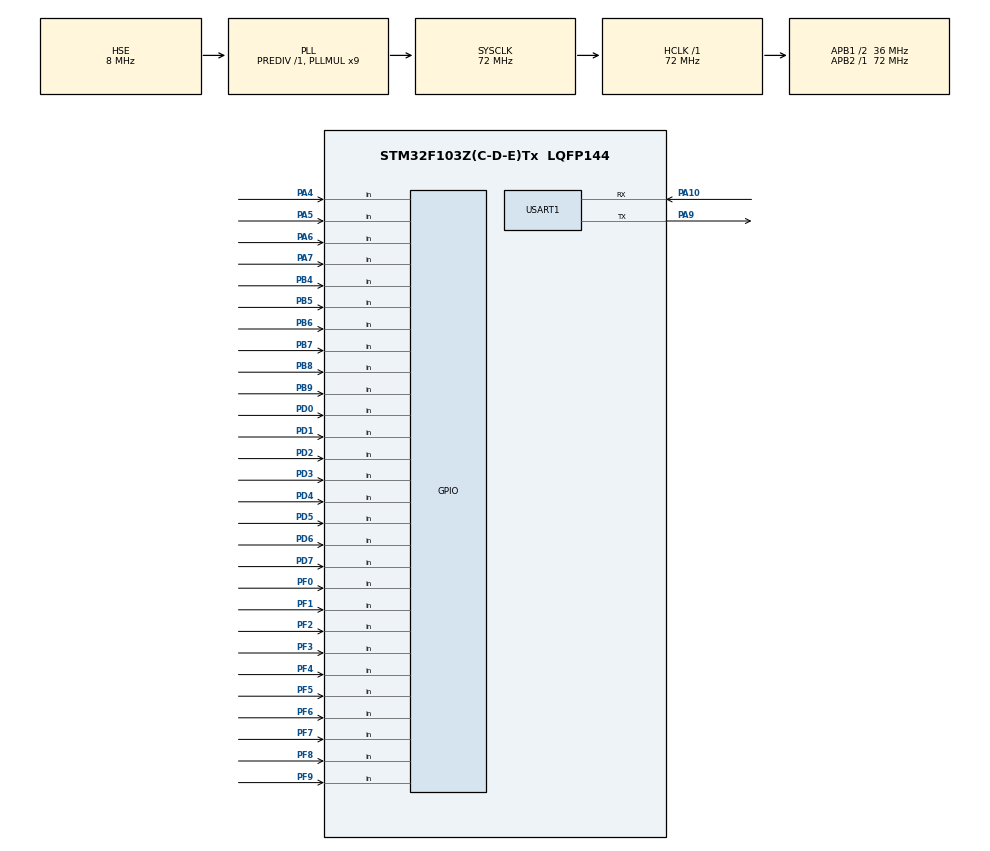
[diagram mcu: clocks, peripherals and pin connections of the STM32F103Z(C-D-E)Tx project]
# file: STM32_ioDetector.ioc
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Mcu.Family=STM32F1
Mcu.Name=STM32F103Z(C-D-E)Tx
Mcu.Package=LQFP144
NVIC.PriorityGroup=NVIC_PRIORITYGROUP_4
OSC_IN.Mode=HSE-External-Oscillator
OSC_IN.Signal=RCC_OSC_IN
OSC_OUT.Mode=HSE-External-Oscillator
OSC_OUT.Signal=RCC_OSC_OUT
PA10.Mode=Asynchronous
PA10.Signal=USART1_RX
PA13.Mode=Serial_Wire
PA13.Signal=SYS_JTMS-SWDIO
PA14.Mode=Serial_Wire
PA14.Signal=SYS_JTCK-SWCLK
PA4.Signal=GPIO_Input
PA5.Signal=GPIO_Input
PA6.Signal=GPIO_Input
PA7.Signal=GPIO_Input
PA9.Mode=Asynchronous
PA9.Signal=USART1_TX
PB4.Signal=GPIO_Input
PB5.Signal=GPIO_Input
PB6.Signal=GPIO_Input
PB7.Signal=GPIO_Input
PB8.Signal=GPIO_Input
PB9.Signal=GPIO_Input
PD0.Signal=GPIO_Input
PD1.Signal=GPIO_Input
PD2.Signal=GPIO_Input
PD3.Signal=GPIO_Input
PD4.Signal=GPIO_Input
PD5.Signal=GPIO_Input
PD6.Signal=GPIO_Input
PD7.Signal=GPIO_Input
PF0.Signal=GPIO_Input
PF1.Signal=GPIO_Input
PF2.Signal=GPIO_Input
PF3.Signal=GPIO_Input
PF4.Signal=GPIO_Input
PF5.Signal=GPIO_Input
PF6.Signal=GPIO_Input
PF7.Signal=GPIO_Input
PF8.Signal=GPIO_Input
PF9.Signal=GPIO_Input
ProjectManager.HeapSize=0x200
ProjectManager.StackSize=0x400
ProjectManager.TargetToolchain=MDK-ARM V5.32
RCC.AHBFreq_Value=72000000
RCC.APB1CLKDivider=RCC_HCLK_DIV2
RCC.APB1Freq_Value=36000000
RCC.APB1TimFreq_Value=72000000
RCC.APB2Freq_Value=72000000
RCC.APB2TimFreq_Value=72000000
RCC.HCLKFreq_Value=72000000
RCC.PLLMUL=RCC_PLL_MUL9
RCC.PLLSourceVirtual=RCC_PLLSOURCE_HSE
RCC.SYSCLKFreq_VALUE=72000000
RCC.SYSCLKSource=RCC_SYSCLKSOURCE_PLLCLK
RCC.USBFreq_Value=72000000
USART1.VirtualMode=VM_ASYNC
board=custom

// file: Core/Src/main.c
/* USER CODE BEGIN Header */
/**
  ******************************************************************************
  * @file           : main.c
  * @brief          : Main program body
  ******************************************************************************
  * @attention
  *
  * Copyright (c) 2023 STMicroelectronics.
  * All rights reserved.
  *
  * This software is licensed under terms that can be found in the LICENSE file
  * in the root directory of this software component.
  * If no LICENSE file comes with this software, it is provided AS-IS.
  *
  ******************************************************************************
  */
/* USER CODE END Header */
#include "main.h"
#include <stdio.h>
#include <string.h>
#include "ioDetector.h"
#include "uart.h"
#include "stm32f1xx_hal.h"

#define pinNum (24)

UART_HandleTypeDef huart1;

void SystemClock_Config(void);
static void MX_GPIO_Init(void);
static void MX_USART1_UART_Init(void);

int main(void)
{

  /* MCU Configuration--------------------------------------------------------*/

  /* Reset of all peripherals, Initializes the Flash interface and the Systick. */
  HAL_Init();

  /* Configure the system clock */
  SystemClock_Config();

  /* Initialize all configured peripherals */
  MX_GPIO_Init();
  MX_USART1_UART_Init();

  ioDetectorTimerInit();
  /* USER CODE BEGIN 2 */
  char result[40]={0};
  probe_t* ptr = NULL;

  GPIO_TypeDef* portArray[pinNum] =
					{GPIOF,GPIOF,GPIOF,GPIOF,GPIOF,GPIOF,
						GPIOF,GPIOF,GPIOF,GPIOF,
						GPIOD,GPIOD,GPIOD,
						GPIOD,GPIOD,GPIOD,GPIOD,GPIOD,
						GPIOB,GPIOB,GPIOB,GPIOB,GPIOB,GPIOB,
								};

	uint16_t pinArray[pinNum] = {
							GPIO_PIN_0,GPIO_PIN_1,GPIO_PIN_2,GPIO_PIN_3,
                          GPIO_PIN_4,GPIO_PIN_5,GPIO_PIN_6,GPIO_PIN_7,
                          GPIO_PIN_8,GPIO_PIN_9,

							GPIO_PIN_0,GPIO_PIN_1,GPIO_PIN_2,GPIO_PIN_3,
                          GPIO_PIN_4,GPIO_PIN_5,GPIO_PIN_6,GPIO_PIN_7,

							GPIO_PIN_4,GPIO_PIN_5,GPIO_PIN_6,GPIO_PIN_7,
                          GPIO_PIN_8,GPIO_PIN_9,
	};

	char pinStr[6];
	int valid_count = 0;

  for(int i=0;i<pinNum;i++){
	sprintf(pinStr,"PIN%d",i);
	probeRegister(&ptr,portArray[i],pinArray[i],pinStr);
	  if(0==probeDetect(ptr,result))valid_count++;
	printf("%s",result);
	probeUnregister(ptr);

  }

  printf("[*]ALL PINS DONE. Valid IO %d.\n\r\n\r\n\r",valid_count);

  /* USER CODE END 2 */

  /* Infinite loop */
   while (1)
  {

  }
}

void SystemClock_Config(void)
{
  RCC_OscInitTypeDef RCC_OscInitStruct = {0};
  RCC_ClkInitTypeDef RCC_ClkInitStruct = {0};

  /** Initializes the RCC Oscillators according to the specified parameters
  * in the RCC_OscInitTypeDef structure.
  */
  RCC_OscInitStruct.OscillatorType = RCC_OSCILLATORTYPE_HSE;
  RCC_OscInitStruct.HSEState = RCC_HSE_ON;
  RCC_OscInitStruct.HSEPredivValue = RCC_HSE_PREDIV_DIV1;
  RCC_OscInitStruct.HSIState = RCC_HSI_ON;
  RCC_OscInitStruct.PLL.PLLState = RCC_PLL_ON;
  RCC_OscInitStruct.PLL.PLLSource = RCC_PLLSOURCE_HSE;
  RCC_OscInitStruct.PLL.PLLMUL = RCC_PLL_MUL9;
  if (HAL_RCC_OscConfig(&RCC_OscInitStruct) != HAL_OK)
  {
    Error_Handler();
  }

  /** Initializes the CPU, AHB and APB buses clocks
  */
  RCC_ClkInitStruct.ClockType = RCC_CLOCKTYPE_HCLK|RCC_CLOCKTYPE_SYSCLK
                              |RCC_CLOCKTYPE_PCLK1|RCC_CLOCKTYPE_PCLK2;
  RCC_ClkInitStruct.SYSCLKSource = RCC_SYSCLKSOURCE_PLLCLK;
  RCC_ClkInitStruct.AHBCLKDivider = RCC_SYSCLK_DIV1;
  RCC_ClkInitStruct.APB1CLKDivider = RCC_HCLK_DIV2;
  RCC_ClkInitStruct.APB2CLKDivider = RCC_HCLK_DIV1;

  if (HAL_RCC_ClockConfig(&RCC_ClkInitStruct, FLASH_LATENCY_2) != HAL_OK)
  {
    Error_Handler();
  }
}

static void MX_USART1_UART_Init(void)
{

  huart1.Instance = USART1;
  huart1.Init.BaudRate = 115200;
  huart1.Init.WordLength = UART_WORDLENGTH_8B;
  huart1.Init.StopBits = UART_STOPBITS_1;
  huart1.Init.Parity = UART_PARITY_NONE;
  huart1.Init.Mode = UART_MODE_TX_RX;
  huart1.Init.HwFlowCtl = UART_HWCONTROL_NONE;
  huart1.Init.OverSampling = UART_OVERSAMPLING_16;
  if (HAL_UART_Init(&huart1) != HAL_OK)
  {
    Error_Handler();
  }

}

static void MX_GPIO_Init(void)
{
  GPIO_InitTypeDef GPIO_InitStruct = {0};

  /* GPIO Ports Clock Enable */
  __HAL_RCC_GPIOF_CLK_ENABLE();
  __HAL_RCC_GPIOA_CLK_ENABLE();
  __HAL_RCC_GPIOD_CLK_ENABLE();
  __HAL_RCC_GPIOB_CLK_ENABLE();

  /*Configure GPIO pins : PF0 PF1 PF2 PF3
                           PF4 PF5 PF6 PF7
                           PF8 PF9 */
  GPIO_InitStruct.Pin = GPIO_PIN_0|GPIO_PIN_1|GPIO_PIN_2|GPIO_PIN_3
                          |GPIO_PIN_4|GPIO_PIN_5|GPIO_PIN_6|GPIO_PIN_7
                          |GPIO_PIN_8|GPIO_PIN_9;
  GPIO_InitStruct.Mode = GPIO_MODE_INPUT;
  GPIO_InitStruct.Pull = GPIO_PULLDOWN;
  HAL_GPIO_Init(GPIOF, &GPIO_InitStruct);

  /*Configure GPIO pins : PA4 PA5 PA6 PA7 */
  GPIO_InitStruct.Pin = GPIO_PIN_4|GPIO_PIN_5|GPIO_PIN_6|GPIO_PIN_7;
  GPIO_InitStruct.Mode = GPIO_MODE_INPUT;
  GPIO_InitStruct.Pull = GPIO_PULLDOWN;
  HAL_GPIO_Init(GPIOA, &GPIO_InitStruct);

  /*Configure GPIO pins : PD0 PD1 PD2 PD3
                           PD4 PD5 PD6 PD7 */
  GPIO_InitStruct.Pin = GPIO_PIN_0|GPIO_PIN_1|GPIO_PIN_2|GPIO_PIN_3
                          |GPIO_PIN_4|GPIO_PIN_5|GPIO_PIN_6|GPIO_PIN_7;
  GPIO_InitStruct.Mode = GPIO_MODE_INPUT;
  GPIO_InitStruct.Pull = GPIO_PULLDOWN;
  HAL_GPIO_Init(GPIOD, &GPIO_InitStruct);

  /*Configure GPIO pins : PB4 PB5 PB6 PB7
                           PB8 PB9 */
  GPIO_InitStruct.Pin = GPIO_PIN_4|GPIO_PIN_5|GPIO_PIN_6|GPIO_PIN_7
                          |GPIO_PIN_8|GPIO_PIN_9;
  GPIO_InitStruct.Mode = GPIO_MODE_INPUT;
  GPIO_InitStruct.Pull = GPIO_PULLDOWN;
  HAL_GPIO_Init(GPIOB, &GPIO_InitStruct);

}

void Error_Handler(void)
{
  __disable_irq();
  while (1)
  {
  }
}
